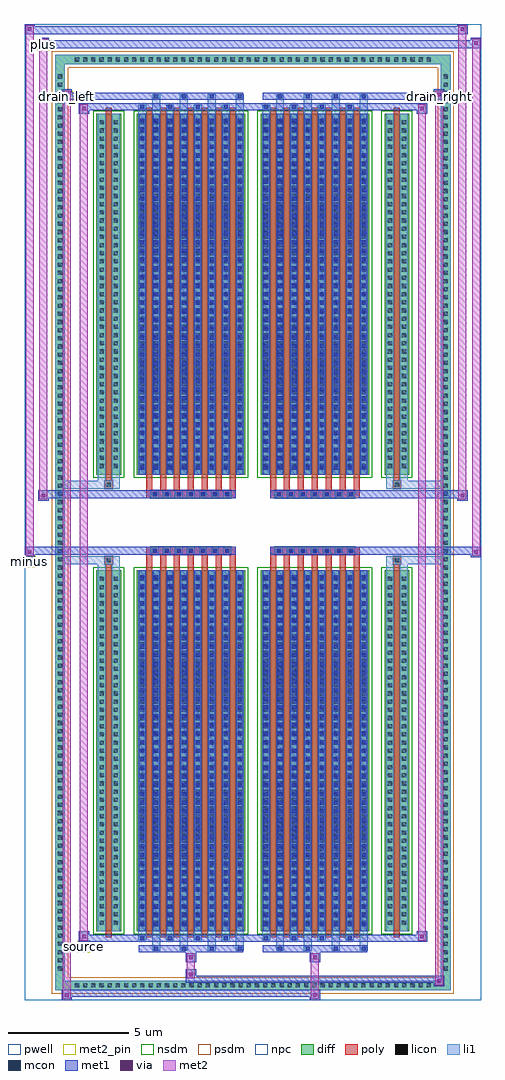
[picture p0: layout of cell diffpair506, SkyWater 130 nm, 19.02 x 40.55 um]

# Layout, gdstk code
import gdstk
lib = gdstk.Library(unit=1e-6, precision=5e-09)
def R(c, l, rs):  # rectangles x0, y0, x1, y1
    for r in rs: c.add(gdstk.rectangle(r[:2], r[2:], *l))
def A(c, l, x, y, w, h, nx, ny, dx, dy):  # array of equal rectangles
    R(c, l, [(x+i*dx, y+j*dy, x+i*dx+w, y+j*dy+h) for i in range(nx) for j in range(ny)])
def P(c, l, *ps):  # polygons
    for p in ps: c.add(gdstk.Polygon(p, *l))
pwell = (64, 44)
diff = (65, 20)
poly = (66, 20)
licon = (66, 44)
li1 = (67, 20)
mcon = (67, 44)
met1 = (68, 20)
via = (68, 44)
met2_pin = (69, 16)
met2 = (69, 20)
nsdm = (93, 44)
psdm = (94, 20)
npc = (95, 20)

diffpair506 = lib.new_cell('diffpair506')
R(diffpair506, pwell, [(-9.49,-19.84,9.49,20.71), (-6.81,-18.03,-0.01,-0.805), (0.01,-18.03,6.81,-0.805), (-6.81,0.805,-0.01,18.03), (0.01,0.805,6.81,18.03)])
A(diffpair506, diff, -7.515, -19.44, 0.41, 0.41, 44, 2, 0.34, 38.47)
A(diffpair506, diff, -8.22, -18.735, 0.41, 0.41, 1, 110, 0, 0.34)
A(diffpair506, diff, 7.81, -18.735, 0.41, 0.41, 1, 110, 0, 0.34)
R(diffpair506, diff, [(-7.515,-19.44,7.515,-19.03), (-8.22,-18.735,-7.81,18.735), (7.81,-18.735,8.22,18.735), (-6.5,-16.985,-5.47,-1.985), (-4.83,-16.985,-0.32,-1.985), (0.32,-16.985,4.83,-1.985), (5.47,-16.985,6.5,-1.985), (-6.5,1.985,-5.47,16.985), (-4.83,1.985,-0.32,16.985), (0.32,1.985,4.83,16.985), (5.47,1.985,6.5,16.985), (-7.515,19.03,7.515,19.44)])
P(diffpair506, diff, [(8.22,19.44),(-8.22,19.44),(-8.22,-19.03),(-7.81,-19.03),(-7.81,19.03),(7.81,19.03),(7.81,-19.03),(-7.81,-19.03),(-8.22,-19.03),(-8.22,-19.44),(8.22,-19.44)])
A(diffpair506, poly, -4.44, -17.235, 0.25, 15.5, 7, 2, 0.58, 18.97)
A(diffpair506, poly, 0.71, -17.235, 0.25, 15.5, 7, 2, 0.58, 18.97)
A(diffpair506, poly, -4.44, -1.735, 0.25, 0.4, 7, 2, 0.58, 3.07)
A(diffpair506, poly, 0.71, -1.735, 0.25, 0.4, 7, 2, 0.58, 3.07)
A(diffpair506, poly, -4.24, -1.335, 0.33, 0.33, 7, 2, 0.5, 2.34)
A(diffpair506, poly, 0.91, -1.335, 0.33, 0.33, 7, 2, 0.5, 2.34)
R(diffpair506, poly, [(-6.11,-17.235,-5.86,-1.735), (5.86,-17.235,6.11,-1.735), (-6.15,-1.735,-5.82,-1.405), (-6.15,-1.735,-5.82,-1.405), (5.82,-1.735,6.15,-1.405), (5.82,-1.735,6.15,-1.405), (-4.44,-1.335,-0.71,-1.005), (0.71,-1.335,4.44,-1.005), (-4.44,1.005,-0.71,1.335), (0.71,1.005,4.44,1.335), (-6.15,1.405,-5.82,1.735), (-6.15,1.405,-5.82,1.735), (5.82,1.405,6.15,1.735), (5.82,1.405,6.15,1.735), (-6.11,1.735,-5.86,17.235), (5.86,1.735,6.11,17.235)])
A(diffpair506, licon, -7.395, -19.32, 0.17, 0.17, 44, 2, 0.34, 38.47)
A(diffpair506, licon, -8.1, -18.615, 0.17, 0.17, 1, 110, 0, 0.34)
A(diffpair506, licon, 7.93, -18.615, 0.17, 0.17, 1, 110, 0, 0.34)
A(diffpair506, licon, -6.36, -16.71, 0.17, 0.17, 1, 43, 0, 0.34)
A(diffpair506, licon, -5.78, -16.71, 0.17, 0.17, 1, 43, 0, 0.34)
A(diffpair506, licon, -4.69, -16.71, 0.17, 0.17, 8, 43, 0.58, 0.34)
A(diffpair506, licon, 0.46, -16.71, 0.17, 0.17, 8, 43, 0.58, 0.34)
A(diffpair506, licon, 5.61, -16.71, 0.17, 0.17, 1, 43, 0, 0.34)
A(diffpair506, licon, 6.19, -16.71, 0.17, 0.17, 1, 43, 0, 0.34)
A(diffpair506, licon, -4.16, -1.255, 0.17, 0.17, 7, 2, 0.5, 2.34)
A(diffpair506, licon, 0.99, -1.255, 0.17, 0.17, 7, 2, 0.5, 2.34)
A(diffpair506, licon, -6.36, 2.26, 0.17, 0.17, 1, 43, 0, 0.34)
A(diffpair506, licon, -5.78, 2.26, 0.17, 0.17, 1, 43, 0, 0.34)
A(diffpair506, licon, -4.69, 2.26, 0.17, 0.17, 8, 43, 0.58, 0.34)
A(diffpair506, licon, 0.46, 2.26, 0.17, 0.17, 8, 43, 0.58, 0.34)
A(diffpair506, licon, 5.61, 2.26, 0.17, 0.17, 1, 43, 0, 0.34)
A(diffpair506, licon, 6.19, 2.26, 0.17, 0.17, 1, 43, 0, 0.34)
R(diffpair506, licon, [(-6.07,-1.655,-5.9,-1.485), (5.9,-1.655,6.07,-1.485), (-6.07,1.485,-5.9,1.655), (5.9,1.485,6.07,1.655)])
A(diffpair506, li1, -7.475, -19.4, 0.33, 0.33, 44, 2, 0.34, 38.47)
A(diffpair506, li1, -8.18, -18.695, 0.33, 0.33, 1, 110, 0, 0.34)
A(diffpair506, li1, 7.85, -18.695, 0.33, 0.33, 1, 110, 0, 0.34)
A(diffpair506, li1, -4.19, -17.79, 0.33, 0.805, 4, 2, 1.16, 34.775)
A(diffpair506, li1, -4.11, -17.79, 0.17, 0.17, 4, 2, 1.16, 35.41)
A(diffpair506, li1, 0.96, -17.79, 0.33, 0.805, 4, 2, 1.16, 34.775)
A(diffpair506, li1, 1.04, -17.79, 0.17, 0.17, 4, 2, 1.16, 35.41)
A(diffpair506, li1, -4.77, -17.36, 0.33, 0.375, 4, 2, 1.16, 34.345)
A(diffpair506, li1, -4.69, -17.36, 0.17, 0.17, 4, 2, 1.16, 34.55)
A(diffpair506, li1, 0.38, -17.36, 0.33, 0.375, 4, 2, 1.16, 34.345)
A(diffpair506, li1, 0.46, -17.36, 0.17, 0.17, 4, 2, 1.16, 34.55)
A(diffpair506, li1, -4.77, -16.985, 0.33, 15, 8, 2, 0.58, 18.97)
A(diffpair506, li1, 0.38, -16.985, 0.33, 15, 8, 2, 0.58, 18.97)
A(diffpair506, li1, -6.44, -16.79, 0.33, 0.33, 1, 43, 0, 0.34)
A(diffpair506, li1, -5.86, -16.79, 0.33, 0.33, 1, 43, 0, 0.34)
A(diffpair506, li1, -4.77, -16.79, 0.33, 0.33, 8, 43, 0.58, 0.34)
A(diffpair506, li1, 0.38, -16.79, 0.33, 0.33, 8, 43, 0.58, 0.34)
A(diffpair506, li1, 5.53, -16.79, 0.33, 0.33, 1, 43, 0, 0.34)
A(diffpair506, li1, 6.11, -16.79, 0.33, 0.33, 1, 43, 0, 0.34)
A(diffpair506, li1, -4.69, -16.77, 0.17, 0.17, 8, 41, 0.58, 0.36)
A(diffpair506, li1, -4.69, -16.77, 0.17, 14.57, 8, 2, 0.58, 18.97)
A(diffpair506, li1, 0.46, -16.77, 0.17, 0.17, 8, 41, 0.58, 0.36)
A(diffpair506, li1, 0.46, -16.77, 0.17, 14.57, 8, 2, 0.58, 18.97)
A(diffpair506, li1, -4.24, -1.335, 0.33, 0.33, 7, 2, 0.5, 2.34)
A(diffpair506, li1, 0.91, -1.335, 0.33, 0.33, 7, 2, 0.5, 2.34)
A(diffpair506, li1, -6.44, 2.18, 0.33, 0.33, 1, 43, 0, 0.34)
A(diffpair506, li1, -5.86, 2.18, 0.33, 0.33, 1, 43, 0, 0.34)
A(diffpair506, li1, -4.77, 2.18, 0.33, 0.33, 8, 43, 0.58, 0.34)
A(diffpair506, li1, 0.38, 2.18, 0.33, 0.33, 8, 43, 0.58, 0.34)
A(diffpair506, li1, 5.53, 2.18, 0.33, 0.33, 1, 43, 0, 0.34)
A(diffpair506, li1, 6.11, 2.18, 0.33, 0.33, 1, 43, 0, 0.34)
A(diffpair506, li1, -4.69, 2.2, 0.17, 0.17, 8, 41, 0.58, 0.36)
A(diffpair506, li1, 0.46, 2.2, 0.17, 0.17, 8, 41, 0.58, 0.36)
R(diffpair506, li1, [(-8.22,-19.44,-7.81,-19.03), (-8.22,-19.44,-7.81,-19.03), (-7.81,-19.44,7.81,-19.03), (7.81,-19.44,8.22,-19.03), (7.81,-19.44,8.22,-19.03), (-8.22,-19.03,-7.81,19.03), (7.81,-19.03,8.22,19.03), (-6.44,-16.985,-6.11,-1.985), (-5.86,-16.985,-5.53,-1.985), (5.53,-16.985,5.86,-1.985), (6.11,-16.985,6.44,-1.985), (-6.44,-1.985,-6.11,-1.405), (-5.86,-1.985,-5.53,-1.405), (5.53,-1.985,5.86,-1.405), (6.11,-1.985,6.44,-1.405), (-8.22,-1.735,-6.15,-1.405), (-6.44,-1.735,-6.15,-1.405), (-6.15,-1.735,-5.82,-1.405), (-5.82,-1.735,-5.53,-1.405), (5.53,-1.735,5.82,-1.405), (5.82,-1.735,6.15,-1.405), (5.82,-1.735,8.22,-1.405), (6.15,-1.735,6.44,-1.405), (-8.22,1.405,-6.15,1.735), (-6.44,1.405,-6.15,1.735), (-6.44,1.405,-6.11,1.985), (-6.15,1.405,-5.82,1.735), (-5.86,1.405,-5.53,1.985), (-5.82,1.405,-5.53,1.735), (5.53,1.405,5.82,1.735), (5.53,1.405,5.86,1.985), (5.82,1.405,6.15,1.735), (5.82,1.405,8.22,1.735), (6.11,1.405,6.44,1.985), (6.15,1.405,6.44,1.735), (-6.44,1.985,-6.11,16.985), (-5.86,1.985,-5.53,16.985), (5.53,1.985,5.86,16.985), (6.11,1.985,6.44,16.985), (-8.22,19.03,-7.81,19.44), (-8.22,19.03,-7.81,19.44), (-7.81,19.03,7.81,19.44), (7.81,19.03,8.22,19.44), (7.81,19.03,8.22,19.44)])
A(diffpair506, mcon, -4.11, -17.79, 0.17, 0.17, 4, 2, 1.16, 35.41)
A(diffpair506, mcon, 1.04, -17.79, 0.17, 0.17, 4, 2, 1.16, 35.41)
A(diffpair506, mcon, -4.69, -17.36, 0.17, 0.17, 4, 2, 1.16, 34.55)
A(diffpair506, mcon, 0.46, -17.36, 0.17, 0.17, 4, 2, 1.16, 34.55)
A(diffpair506, mcon, -4.69, -16.77, 0.17, 0.17, 8, 41, 0.58, 0.36)
A(diffpair506, mcon, 0.46, -16.77, 0.17, 0.17, 8, 41, 0.58, 0.36)
A(diffpair506, mcon, -4.16, -1.255, 0.17, 0.17, 7, 2, 0.5, 2.34)
A(diffpair506, mcon, 0.99, -1.255, 0.17, 0.17, 7, 2, 0.5, 2.34)
A(diffpair506, mcon, -4.69, 2.2, 0.17, 0.17, 8, 41, 0.58, 0.36)
A(diffpair506, mcon, 0.46, 2.2, 0.17, 0.17, 8, 41, 0.58, 0.36)
A(diffpair506, met1, -4.17, -17.85, 0.29, 0.29, 4, 2, 1.16, 35.41)
A(diffpair506, met1, 0.98, -17.85, 0.29, 0.29, 4, 2, 1.16, 35.41)
A(diffpair506, met1, -4.75, -17.42, 0.29, 0.29, 4, 2, 1.16, 34.55)
A(diffpair506, met1, 0.4, -17.42, 0.29, 0.29, 4, 2, 1.16, 34.55)
A(diffpair506, met1, -4.75, -16.985, 0.29, 15, 8, 2, 0.58, 18.97)
A(diffpair506, met1, 0.4, -16.985, 0.29, 15, 8, 2, 0.58, 18.97)
A(diffpair506, met1, -4.75, -16.83, 0.29, 0.29, 8, 41, 0.58, 0.36)
A(diffpair506, met1, 0.4, -16.83, 0.29, 0.29, 8, 41, 0.58, 0.36)
A(diffpair506, met1, -4.22, -1.315, 0.29, 0.29, 7, 2, 0.5, 2.34)
A(diffpair506, met1, 0.93, -1.315, 0.29, 0.29, 7, 2, 0.5, 2.34)
A(diffpair506, met1, -4.75, 2.14, 0.29, 0.29, 8, 41, 0.58, 0.36)
A(diffpair506, met1, 0.4, 2.14, 0.29, 0.29, 8, 41, 0.58, 0.36)
R(diffpair506, met1, [(-7.95,-19.84,-7.52,-19.41), (2.36,-19.84,2.79,-19.41), (-7.95,-19.7,2.79,-19.41), (7.52,-19.27,7.95,-18.84), (-2.79,-19.13,7.95,-18.84), (-2.79,-18.99,-2.36,-18.56), (-2.79,-18.28,-2.36,-17.85), (2.36,-18.28,2.79,-17.85), (-4.75,-17.85,-0.4,-17.56), (0.4,-17.85,4.75,-17.56), (-7.24,-17.42,-6.81,-16.99), (-7.24,-17.42,-4.75,-17.13), (-4.75,-17.42,-0.4,-17.13), (-0.4,-17.42,0.4,-17.13), (0.4,-17.42,4.75,-17.13), (4.75,-17.42,7.24,-17.13), (6.81,-17.42,7.24,-16.99), (-9.49,-1.435,-9.06,-1.005), (9.06,-1.435,9.49,-1.005), (-9.49,-1.335,-0.71,-1.005), (-4.44,-1.335,-0.71,-1.005), (0.71,-1.335,4.44,-1.005), (0.71,-1.335,9.49,-1.005), (-8.92,0.905,-8.49,1.335), (8.49,0.905,8.92,1.335), (-8.92,1.005,-4.44,1.335), (-4.44,1.005,-0.71,1.335), (0.71,1.005,4.44,1.335), (4.44,1.005,8.92,1.335), (-7.24,16.99,-6.81,17.42), (6.81,16.99,7.24,17.42), (-7.24,17.13,-4.75,17.42), (-4.75,17.13,-0.4,17.42), (-0.4,17.13,0.4,17.42), (0.4,17.13,4.75,17.42), (4.75,17.13,7.24,17.42), (-7.95,17.56,-7.52,17.99), (-7.95,17.56,-4.75,17.85), (-4.75,17.56,-0.4,17.85), (0.4,17.56,4.75,17.85), (4.75,17.56,7.95,17.85), (7.52,17.56,7.95,17.99), (-8.92,19.71,-8.49,20.14), (-8.92,19.71,-6.81,20.04), (-6.81,19.71,6.81,20.04), (6.81,19.71,9.49,20.04), (9.06,19.71,9.49,20.14), (-9.49,20.28,-9.06,20.71), (-9.49,20.28,-6.81,20.61), (-6.81,20.28,6.81,20.61), (6.81,20.28,8.92,20.61), (8.49,20.28,8.92,20.71)])
R(diffpair506, via, [(-7.81,-19.7,-7.66,-19.55), (2.5,-19.7,2.65,-19.55), (7.66,-19.13,7.81,-18.98), (-2.65,-18.85,-2.5,-18.7), (-2.65,-18.14,-2.5,-17.99), (2.5,-18.14,2.65,-17.99), (-7.1,-17.28,-6.95,-17.13), (6.95,-17.28,7.1,-17.13), (-9.35,-1.295,-9.2,-1.145), (9.2,-1.295,9.35,-1.145), (-8.78,1.045,-8.63,1.195), (8.63,1.045,8.78,1.195), (-7.1,17.13,-6.95,17.28), (6.95,17.13,7.1,17.28), (-7.81,17.7,-7.66,17.85), (7.66,17.7,7.81,17.85), (-8.78,19.85,-8.63,20), (9.2,19.85,9.35,20), (-9.35,20.42,-9.2,20.57), (8.63,20.42,8.78,20.57)])
R(diffpair506, met2_pin, [(-7.275,-17.87,-6.775,-17.37), (-9.525,-1.885,-9.025,-1.385), (-7.985,17.44,-7.485,17.94), (7.485,17.44,7.985,17.94), (-8.955,19.59,-8.455,20.09)])
R(diffpair506, met2, [(-7.9,-19.79,-7.57,-19.46), (-7.9,-19.79,-7.57,17.94), (2.41,-19.79,2.74,-19.46), (2.41,-19.46,2.74,-18.23), (7.57,-19.22,7.9,-18.89), (7.57,-19.22,7.9,17.94), (-2.74,-18.94,-2.41,-18.61), (-2.74,-18.61,-2.41,-18.23), (-2.74,-18.23,-2.41,-17.9), (2.41,-18.23,2.74,-17.9), (-7.19,-17.37,-6.86,-17.04), (-7.19,-17.37,-6.86,17.37), (6.86,-17.37,7.19,-17.04), (6.86,-17.37,7.19,17.37), (-9.44,-1.385,-9.11,-1.055), (-9.44,-1.385,-9.11,20.66), (9.11,-1.385,9.44,-1.055), (9.11,-1.385,9.44,20.09), (-8.87,0.955,-8.54,1.285), (-8.87,0.955,-8.54,20.09), (8.54,0.955,8.87,1.285), (8.54,0.955,8.87,20.66), (-7.19,17.04,-6.86,17.37), (6.86,17.04,7.19,17.37), (-7.9,17.61,-7.57,17.94), (7.57,17.61,7.9,17.94), (-8.87,19.76,-8.54,20.09), (9.11,19.76,9.44,20.09), (-9.44,20.33,-9.11,20.66), (8.54,20.33,8.87,20.66)])
P(diffpair506, met2, [(9.44,-1.385),(9.44,-1.385),(9.44,-1.055),(9.44,-1.055)],
  [(9.44,19.76),(9.44,19.76),(9.44,20.09),(9.44,20.09)],
  [(-9.11,-1.385),(-9.11,-1.385),(-9.11,-1.055),(-9.11,-1.055)],
  [(-9.11,20.33),(-9.11,20.33),(-9.11,20.66),(-9.11,20.66)],
  [(8.87,0.955),(8.87,0.955),(8.87,1.285),(8.87,1.285)],
  [(8.87,20.33),(8.87,20.33),(8.87,20.66),(8.87,20.66)],
  [(-8.54,0.955),(-8.54,0.955),(-8.54,1.285),(-8.54,1.285)],
  [(-8.54,19.76),(-8.54,19.76),(-8.54,20.09),(-8.54,20.09)],
  [(-7.57,-19.79),(-7.57,-19.79),(-7.57,-19.46),(-7.57,-19.46)],
  [(-7.57,17.61),(-7.57,17.61),(-7.57,17.94),(-7.57,17.94)],
  [(7.9,-19.22),(7.9,-19.22),(7.9,-18.89),(7.9,-18.89)],
  [(7.9,17.61),(7.9,17.61),(7.9,17.94),(7.9,17.94)],
  [(-6.86,-17.37),(-6.86,-17.37),(-6.86,-17.04),(-6.86,-17.04)],
  [(-6.86,17.04),(-6.86,17.04),(-6.86,17.37),(-6.86,17.37)],
  [(7.19,-17.37),(7.19,-17.37),(7.19,-17.04),(7.19,-17.04)],
  [(7.19,17.04),(7.19,17.04),(7.19,17.37),(7.19,17.37)])
R(diffpair506, nsdm, [(-6.63,-17.115,-5.34,-1.855), (-4.96,-17.115,-0.19,-1.855), (0.19,-17.115,4.96,-1.855), (5.34,-17.115,6.63,-1.855), (-6.63,1.855,-5.34,17.115), (-4.96,1.855,-0.19,17.115), (0.19,1.855,4.96,17.115), (5.34,1.855,6.63,17.115)])
P(diffpair506, psdm, [(8.35,19.57),(-8.35,19.57),(-8.35,-18.9),(-7.68,-18.9),(-7.68,18.9),(7.68,18.9),(7.68,-18.9),(-7.68,-18.9),(-8.35,-18.9),(-8.35,-19.57),(8.35,-19.57)])
A(diffpair506, npc, -4.26, -1.355, 0.37, 0.37, 7, 2, 0.5, 2.34)
A(diffpair506, npc, 0.89, -1.355, 0.37, 0.37, 7, 2, 0.5, 2.34)
R(diffpair506, npc, [(-6.17,-1.755,-5.8,-1.385), (5.8,-1.755,6.17,-1.385), (-4.26,-1.355,-3.39,-0.985), (-4.26,-1.355,-3.39,-0.985), (-3.76,-1.355,-2.89,-0.985), (-3.76,-1.355,-2.89,-0.985), (-3.26,-1.355,-2.39,-0.985), (-3.26,-1.355,-2.39,-0.985), (-2.76,-1.355,-1.89,-0.985), (-2.76,-1.355,-1.89,-0.985), (-2.26,-1.355,-1.39,-0.985), (-2.26,-1.355,-1.39,-0.985), (-1.76,-1.355,-0.89,-0.985), (-1.76,-1.355,-0.89,-0.985), (0.89,-1.355,1.76,-0.985), (0.89,-1.355,1.76,-0.985), (1.39,-1.355,2.26,-0.985), (1.39,-1.355,2.26,-0.985), (1.89,-1.355,2.76,-0.985), (1.89,-1.355,2.76,-0.985), (2.39,-1.355,3.26,-0.985), (2.39,-1.355,3.26,-0.985), (2.89,-1.355,3.76,-0.985), (2.89,-1.355,3.76,-0.985), (3.39,-1.355,4.26,-0.985), (3.39,-1.355,4.26,-0.985), (-4.26,0.985,-3.39,1.355), (-4.26,0.985,-3.39,1.355), (-3.76,0.985,-2.89,1.355), (-3.76,0.985,-2.89,1.355), (-3.26,0.985,-2.39,1.355), (-3.26,0.985,-2.39,1.355), (-2.76,0.985,-1.89,1.355), (-2.76,0.985,-1.89,1.355), (-2.26,0.985,-1.39,1.355), (-2.26,0.985,-1.39,1.355), (-1.76,0.985,-0.89,1.355), (-1.76,0.985,-0.89,1.355), (0.89,0.985,1.76,1.355), (0.89,0.985,1.76,1.355), (1.39,0.985,2.26,1.355), (1.39,0.985,2.26,1.355), (1.89,0.985,2.76,1.355), (1.89,0.985,2.76,1.355), (2.39,0.985,3.26,1.355), (2.39,0.985,3.26,1.355), (2.89,0.985,3.76,1.355), (2.89,0.985,3.76,1.355), (3.39,0.985,4.26,1.355), (3.39,0.985,4.26,1.355), (-6.17,1.385,-5.8,1.755), (5.8,1.385,6.17,1.755)])
diffpair506.add(gdstk.Label('minus', (-9.275,-1.635), layer=69, texttype=5))
diffpair506.add(gdstk.Label('drain_right', (7.735,17.69), layer=69, texttype=5))
diffpair506.add(gdstk.Label('drain_left', (-7.735,17.69), layer=69, texttype=5))
diffpair506.add(gdstk.Label('source', (-7.025,-17.62), layer=69, texttype=5))
diffpair506.add(gdstk.Label('plus', (-8.705,19.84), layer=69, texttype=5))

lib.write_gds('diffpair506.gds')
